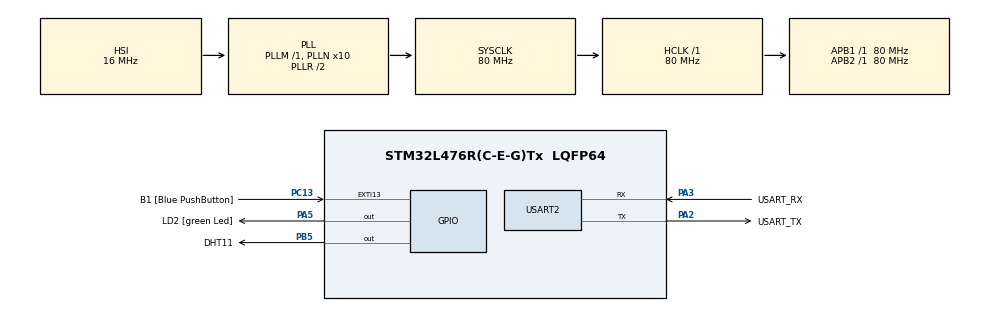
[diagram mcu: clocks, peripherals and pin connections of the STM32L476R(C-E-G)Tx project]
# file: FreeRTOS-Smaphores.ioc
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FREERTOS.BinarySemaphores01=DhtSem,Dynamic,NULL;PrintSem,Dynamic,NULL
FREERTOS.Tasks01=defaultTask,24,128,StartDefaultTask,Default,NULL,Dynamic,NULL,NULL;DHT,40,256,entry_DHT,As external,NULL,Dynamic,NULL,NULL;Delay,24,128,entry_Delay,As external,NULL,Dynamic,NULL,NULL;Print,24,256,entry_Print,As external,NULL,Dynamic,NULL,NULL
FREERTOS.configTOTAL_HEAP_SIZE=5000
Mcu.Family=STM32L4
Mcu.Name=STM32L476R(C-E-G)Tx
Mcu.Package=LQFP64
NVIC.PriorityGroup=NVIC_PRIORITYGROUP_4
NVIC.TIM1_UP_TIM16_IRQn=true\:15\:0\:false\:false\:true\:false\:false\:true\:true
NVIC.TimeBase=TIM1_UP_TIM16_IRQn
NVIC.TimeBaseIP=TIM16
PA13\ (JTMS-SWDIO).GPIO_Label=TMS
PA13\ (JTMS-SWDIO).Mode=Serial_Wire
PA13\ (JTMS-SWDIO).Signal=SYS_JTMS-SWDIO
PA14\ (JTCK-SWCLK).GPIO_Label=TCK
PA14\ (JTCK-SWCLK).Mode=Serial_Wire
PA14\ (JTCK-SWCLK).Signal=SYS_JTCK-SWCLK
PA2.GPIO_Label=USART_TX
PA2.GPIO_Mode=GPIO_MODE_AF_PP
PA2.GPIO_PuPd=GPIO_NOPULL
PA2.GPIO_Speed=GPIO_SPEED_FREQ_VERY_HIGH
PA2.Mode=Asynchronous
PA2.Signal=USART2_TX
PA3.GPIO_Label=USART_RX
PA3.GPIO_Mode=GPIO_MODE_AF_PP
PA3.GPIO_PuPd=GPIO_NOPULL
PA3.GPIO_Speed=GPIO_SPEED_FREQ_VERY_HIGH
PA3.Mode=Asynchronous
PA3.Signal=USART2_RX
PA5.GPIO_Label=LD2 [green Led]
PA5.GPIO_ModeDefaultOutputPP=GPIO_MODE_OUTPUT_PP
PA5.GPIO_PuPd=GPIO_NOPULL
PA5.GPIO_Speed=GPIO_SPEED_FREQ_LOW
PA5.Signal=GPIO_Output
PB3\ (JTDO-TRACESWO).GPIO_Label=SWO
PB3\ (JTDO-TRACESWO).Signal=SYS_JTDO-SWO
PB5.GPIO_Label=DHT11
PB5.Signal=GPIO_Output
PC13.GPIO_Label=B1 [Blue PushButton]
PC13.GPIO_ModeDefaultEXTI=GPIO_MODE_IT_FALLING
PC13.GPIO_PuPd=GPIO_NOPULL
PC13.Signal=GPXTI13
PC14-OSC32_IN\ (PC14).Mode=LSE-External-Oscillator
PC14-OSC32_IN\ (PC14).Signal=RCC_OSC32_IN
PC15-OSC32_OUT\ (PC15).Mode=LSE-External-Oscillator
PC15-OSC32_OUT\ (PC15).Signal=RCC_OSC32_OUT
PH0-OSC_IN\ (PH0).Signal=RCC_OSC_IN
PH1-OSC_OUT\ (PH1).Signal=RCC_OSC_OUT
ProjectManager.HeapSize=0x200
ProjectManager.StackSize=0x400
ProjectManager.TargetToolchain=STM32CubeIDE
RCC.ADCFreq_Value=64000000
RCC.AHBFreq_Value=80000000
RCC.APB1Freq_Value=80000000
RCC.APB1TimFreq_Value=80000000
RCC.APB2Freq_Value=80000000
RCC.APB2TimFreq_Value=80000000
RCC.CortexFreq_Value=80000000
RCC.HCLKFreq_Value=80000000
RCC.HSE_VALUE=8000000
RCC.HSI_VALUE=16000000
RCC.MSI_VALUE=4000000
RCC.PLLN=10
RCC.PLLSourceVirtual=RCC_PLLSOURCE_HSI
RCC.PREFETCH_ENABLE=1
RCC.SYSCLKFreq_VALUE=80000000
RCC.SYSCLKSource=RCC_SYSCLKSOURCE_PLLCLK
RCC.USBFreq_Value=64000000
RCC.VCOOutputFreq_Value=160000000
TIM6.Prescaler=80
USART2.VirtualMode-Asynchronous=VM_ASYNC
VP_FREERTOS_VS_CMSIS_V2.Mode=CMSIS_V2
VP_SYS_VS_tim16.Mode=TIM16
VP_TIM6_VS_ClockSourceINT.Mode=Enable_Timer
board=NUCLEO-L476RG

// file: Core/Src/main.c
/* USER CODE BEGIN Header */
/**
  ******************************************************************************
  * @file           : main.c
  * @brief          : Main program body
  ******************************************************************************
  * @attention
  *
  * Copyright (c) 2022 STMicroelectronics.
  * All rights reserved.
  *
  * This software is licensed under terms that can be found in the LICENSE file
  * in the root directory of this software component.
  * If no LICENSE file comes with this software, it is provided AS-IS.
  *
  ******************************************************************************
  */
/* USER CODE END Header */
#include "main.h"
#include "cmsis_os.h"

/* USER CODE BEGIN Includes */
#include "Dht11.h"
#include <stdio.h>
/* USER CODE END Includes */

 TIM_HandleTypeDef htim6;

UART_HandleTypeDef huart2;

/* Definitions for defaultTask */
osThreadId_t defaultTaskHandle;
const osThreadAttr_t defaultTask_attributes = {
  .name = "defaultTask",
  .stack_size = 128 * 4,
  .priority = (osPriority_t) osPriorityNormal,
};
/* Definitions for DHT */
osThreadId_t DHTHandle;
const osThreadAttr_t DHT_attributes = {
  .name = "DHT",
  .stack_size = 256 * 4,
  .priority = (osPriority_t) osPriorityHigh,
};
/* Definitions for Delay */
osThreadId_t DelayHandle;
const osThreadAttr_t Delay_attributes = {
  .name = "Delay",
  .stack_size = 128 * 4,
  .priority = (osPriority_t) osPriorityNormal,
};
/* Definitions for Print */
osThreadId_t PrintHandle;
const osThreadAttr_t Print_attributes = {
  .name = "Print",
  .stack_size = 256 * 4,
  .priority = (osPriority_t) osPriorityNormal,
};
/* Definitions for DhtSem */
osSemaphoreId_t DhtSemHandle;
const osSemaphoreAttr_t DhtSem_attributes = {
  .name = "DhtSem"
};
/* Definitions for PrintSem */
osSemaphoreId_t PrintSemHandle;
const osSemaphoreAttr_t PrintSem_attributes = {
  .name = "PrintSem"
};
/* USER CODE BEGIN PV */

int _write(int fd, char* ptr, int len)
{
	HAL_UART_Transmit(&huart2, (uint8_t*)ptr, len, HAL_MAX_DELAY);
	return len;
}

Dht11 dht;

/* USER CODE END PV */

void SystemClock_Config(void);
static void MX_GPIO_Init(void);
static void MX_USART2_UART_Init(void);
static void MX_TIM6_Init(void);
void StartDefaultTask(void *argument);
extern void entry_DHT(void *argument);
extern void entry_Delay(void *argument);
extern void entry_Print(void *argument);

/* USER CODE BEGIN 0 */

/* USER CODE END Header_entry_DHT */
void entry_DHT(void *argument)
{
  /* USER CODE BEGIN entry_DHT */
  /* Infinite loop */
  for(;;)
  {
	osSemaphoreAcquire(DhtSemHandle, osWaitForever);
	Dht11_Read(&dht);
	osSemaphoreRelease(PrintSemHandle);
  }
  /* USER CODE END entry_DHT */
}

/* USER CODE END Header_entry_Delay */
void entry_Delay(void *argument)
{
  /* USER CODE BEGIN entry_Delay */
  /* Infinite loop */
  for(;;)
  {
    osDelay(1000);
    osSemaphoreRelease(DhtSemHandle);
  }
  /* USER CODE END entry_Delay */
}

/* USER CODE END Header_entry_Print */
void entry_Print(void *argument)
{
  /* USER CODE BEGIN entry_Print */
  /* Infinite loop */
  for(;;)
  {
	  osSemaphoreAcquire(PrintSemHandle, osWaitForever);
	  printf("Humidity - %.2f\r\nTemperature - %.2f\r\nChekSum - %d\r\n\n",dht.humidity,dht.temperature,dht.checkSum);
  }
  /* USER CODE END entry_Print */
}

/* USER CODE END 0 */

int main(void)
{

  /* MCU Configuration--------------------------------------------------------*/

  /* Reset of all peripherals, Initializes the Flash interface and the Systick. */
  HAL_Init();

  /* Configure the system clock */
  SystemClock_Config();

  /* Initialize all configured peripherals */
  MX_GPIO_Init();
  MX_USART2_UART_Init();
  MX_TIM6_Init();
  /* USER CODE BEGIN 2 */
  __HAL_TIM_SET_COUNTER(&htim6, 0);
  HAL_TIM_Base_Start(&htim6);
  Dht11_init(&dht);
  /* USER CODE END 2 */

  /* Init scheduler */
  osKernelInitialize();

  /* Create the semaphores(s) */
  /* creation of DhtSem */
  DhtSemHandle = osSemaphoreNew(1, 1, &DhtSem_attributes);

  /* creation of PrintSem */
  PrintSemHandle = osSemaphoreNew(1, 1, &PrintSem_attributes);

  /* Create the thread(s) */
  /* creation of defaultTask */
  defaultTaskHandle = osThreadNew(StartDefaultTask, NULL, &defaultTask_attributes);

  /* creation of DHT */
  DHTHandle = osThreadNew(entry_DHT, NULL, &DHT_attributes);

  /* creation of Delay */
  DelayHandle = osThreadNew(entry_Delay, NULL, &Delay_attributes);

  /* creation of Print */
  PrintHandle = osThreadNew(entry_Print, NULL, &Print_attributes);

  /* Start scheduler */
  osKernelStart();

  /* We should never get here as control is now taken by the scheduler */
  /* Infinite loop */
  while (1)
  {

  }
}

void SystemClock_Config(void)
{
  RCC_OscInitTypeDef RCC_OscInitStruct = {0};
  RCC_ClkInitTypeDef RCC_ClkInitStruct = {0};

  /** Configure the main internal regulator output voltage
  */
  if (HAL_PWREx_ControlVoltageScaling(PWR_REGULATOR_VOLTAGE_SCALE1) != HAL_OK)
  {
    Error_Handler();
  }

  /** Initializes the RCC Oscillators according to the specified parameters
  * in the RCC_OscInitTypeDef structure.
  */
  RCC_OscInitStruct.OscillatorType = RCC_OSCILLATORTYPE_HSI;
  RCC_OscInitStruct.HSIState = RCC_HSI_ON;
  RCC_OscInitStruct.HSICalibrationValue = RCC_HSICALIBRATION_DEFAULT;
  RCC_OscInitStruct.PLL.PLLState = RCC_PLL_ON;
  RCC_OscInitStruct.PLL.PLLSource = RCC_PLLSOURCE_HSI;
  RCC_OscInitStruct.PLL.PLLM = 1;
  RCC_OscInitStruct.PLL.PLLN = 10;
  RCC_OscInitStruct.PLL.PLLP = RCC_PLLP_DIV7;
  RCC_OscInitStruct.PLL.PLLQ = RCC_PLLQ_DIV2;
  RCC_OscInitStruct.PLL.PLLR = RCC_PLLR_DIV2;
  if (HAL_RCC_OscConfig(&RCC_OscInitStruct) != HAL_OK)
  {
    Error_Handler();
  }

  /** Initializes the CPU, AHB and APB buses clocks
  */
  RCC_ClkInitStruct.ClockType = RCC_CLOCKTYPE_HCLK|RCC_CLOCKTYPE_SYSCLK
                              |RCC_CLOCKTYPE_PCLK1|RCC_CLOCKTYPE_PCLK2;
  RCC_ClkInitStruct.SYSCLKSource = RCC_SYSCLKSOURCE_PLLCLK;
  RCC_ClkInitStruct.AHBCLKDivider = RCC_SYSCLK_DIV1;
  RCC_ClkInitStruct.APB1CLKDivider = RCC_HCLK_DIV1;
  RCC_ClkInitStruct.APB2CLKDivider = RCC_HCLK_DIV1;

  if (HAL_RCC_ClockConfig(&RCC_ClkInitStruct, FLASH_LATENCY_4) != HAL_OK)
  {
    Error_Handler();
  }
}

static void MX_TIM6_Init(void)
{

  TIM_MasterConfigTypeDef sMasterConfig = {0};

  htim6.Instance = TIM6;
  htim6.Init.Prescaler = 80;
  htim6.Init.CounterMode = TIM_COUNTERMODE_UP;
  htim6.Init.Period = 65535;
  htim6.Init.AutoReloadPreload = TIM_AUTORELOAD_PRELOAD_DISABLE;
  if (HAL_TIM_Base_Init(&htim6) != HAL_OK)
  {
    Error_Handler();
  }
  sMasterConfig.MasterOutputTrigger = TIM_TRGO_RESET;
  sMasterConfig.MasterSlaveMode = TIM_MASTERSLAVEMODE_DISABLE;
  if (HAL_TIMEx_MasterConfigSynchronization(&htim6, &sMasterConfig) != HAL_OK)
  {
    Error_Handler();
  }

}

static void MX_USART2_UART_Init(void)
{

  huart2.Instance = USART2;
  huart2.Init.BaudRate = 115200;
  huart2.Init.WordLength = UART_WORDLENGTH_8B;
  huart2.Init.StopBits = UART_STOPBITS_1;
  huart2.Init.Parity = UART_PARITY_NONE;
  huart2.Init.Mode = UART_MODE_TX_RX;
  huart2.Init.HwFlowCtl = UART_HWCONTROL_NONE;
  huart2.Init.OverSampling = UART_OVERSAMPLING_16;
  huart2.Init.OneBitSampling = UART_ONE_BIT_SAMPLE_DISABLE;
  huart2.AdvancedInit.AdvFeatureInit = UART_ADVFEATURE_NO_INIT;
  if (HAL_UART_Init(&huart2) != HAL_OK)
  {
    Error_Handler();
  }

}

static void MX_GPIO_Init(void)
{
  GPIO_InitTypeDef GPIO_InitStruct = {0};

  /* GPIO Ports Clock Enable */
  __HAL_RCC_GPIOC_CLK_ENABLE();
  __HAL_RCC_GPIOH_CLK_ENABLE();
  __HAL_RCC_GPIOA_CLK_ENABLE();
  __HAL_RCC_GPIOB_CLK_ENABLE();

  /*Configure GPIO pin Output Level */
  HAL_GPIO_WritePin(LD2_GPIO_Port, LD2_Pin, GPIO_PIN_RESET);

  /*Configure GPIO pin Output Level */
  HAL_GPIO_WritePin(DHT11_GPIO_Port, DHT11_Pin, GPIO_PIN_RESET);

  /*Configure GPIO pin : B1_Pin */
  GPIO_InitStruct.Pin = B1_Pin;
  GPIO_InitStruct.Mode = GPIO_MODE_IT_FALLING;
  GPIO_InitStruct.Pull = GPIO_NOPULL;
  HAL_GPIO_Init(B1_GPIO_Port, &GPIO_InitStruct);

  /*Configure GPIO pin : LD2_Pin */
  GPIO_InitStruct.Pin = LD2_Pin;
  GPIO_InitStruct.Mode = GPIO_MODE_OUTPUT_PP;
  GPIO_InitStruct.Pull = GPIO_NOPULL;
  GPIO_InitStruct.Speed = GPIO_SPEED_FREQ_LOW;
  HAL_GPIO_Init(LD2_GPIO_Port, &GPIO_InitStruct);

  /*Configure GPIO pin : DHT11_Pin */
  GPIO_InitStruct.Pin = DHT11_Pin;
  GPIO_InitStruct.Mode = GPIO_MODE_OUTPUT_PP;
  GPIO_InitStruct.Pull = GPIO_NOPULL;
  GPIO_InitStruct.Speed = GPIO_SPEED_FREQ_LOW;
  HAL_GPIO_Init(DHT11_GPIO_Port, &GPIO_InitStruct);

}

void StartDefaultTask(void *argument)
{
  for(;;)
  {
    osDelay(1);
  }
}

void HAL_TIM_PeriodElapsedCallback(TIM_HandleTypeDef *htim)
{
  if (htim->Instance == TIM16) {
    HAL_IncTick();
  }
}

void Error_Handler(void)
{
  __disable_irq();
  while (1)
  {
  }
}
